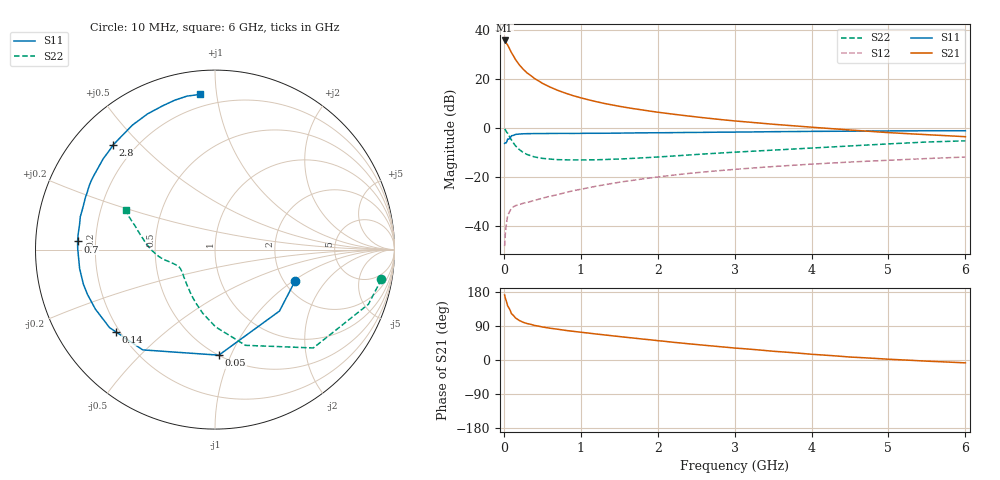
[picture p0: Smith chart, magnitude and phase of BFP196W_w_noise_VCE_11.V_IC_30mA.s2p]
! (c) 2017  Infineon Technologies AG, Munich
! Infineon Technologies  Discrete & RF Semiconductors
! BFP196W
! VCE =  11. V,  IC =  30 mA
! Common Emitter S-Parameters:  Jan 2017
# GHz  S  MA  R  50
!  f  S11  S21  S12  S22
! GHz  MAG  ANG  MAG  ANG  MAG  ANG  MAG  ANG
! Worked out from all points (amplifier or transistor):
!   77 points, 10 MHz to 6 GHz, reference 50 ohm
!   highest |S21| = 35.7 dB at 10 MHz (marker M1)
!   |S21| within 3 dB of that: start of sweep to 67.81 MHz
!   unconditionally stable (mu >= 1): 889.5 MHz to 3.224 GHz
!   at 130 MHz: K = 0.30, MSG = 30.7 dB, |S12| = -32.2 dB
!   at 2.2 GHz: K = 1.05, MAG = 11.1 dB, |S12| = -19.4 dB
!   at 6 GHz: K = 0.90, MSG = 4.2 dB, |S12| = -12.0 dB
!   lowest NFmin = 1.13 dB at 450 MHz
!   S11 on the Smith chart (normalised r, x): 10 MHz: 2.29, -1.03; 50 MHz: 0.50, -0.90; 140 MHz: 0.19, -0.35; 700 MHz: 0.13, +0.03; 2.8 GHz: 0.12, +0.42; 6 GHz: 0.13, +0.90
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0.01  0.4793 -21.3  60.95 171.7  0.0038 70.2  0.9419 -10.1
0.02  0.4962 -43.6  58.62 162.9  0.0069 75.4  0.9076 -19.6
0.05  0.5886 -87.9  49.02 142.5  0.0161 54.5  0.7748 -45.0
0.1  0.6888 -125.8  34.13 122.0  0.0228 42.3  0.5599 -72.3
0.14  0.7171 -140.2  26.75 113.9  0.025 38.0  0.4525 -85.4
0.15  0.7308 -143.5  25.02 111.2  0.0256 37.0  0.4304 -89.6
0.2  0.7443 -153.5  19.44 104.4  0.0268 36.9  0.3602 -101.1
0.25  0.7529 -160.5  15.84 99.6  0.0286 36.2  0.3141 -110.2
0.3  0.7582 -165.2  13.31 96.3  0.0297 37.3  0.2857 -117.3
0.4  0.7617 -172.0  10.13 91.1  0.0328 40.8  0.2534 -127.6
0.5  0.7614 -176.6  8.128 87.2  0.0363 44.4  0.2372 -134.8
0.6  0.7649 179.6  6.806 83.9  0.0399 47.2  0.2292 -139.9
0.7  0.767 176.6  5.83 81.2  0.0428 50.1  0.2231 -143.8
0.9  0.7667 170.9  4.535 75.7  0.0515 52.7  0.2205 -148.9
1.1  0.7725 166.3  3.733 71.0  0.0594 55.2  0.2211 -152.3
1.5  0.7784 158.0  2.75 61.9  0.077 56.6  0.2302 -157.6
2.1  0.7931 146.2  1.987 49.1  0.103 55.2  0.2585 -164.2
2.8  0.8132 134.3  1.483 35.3  0.133 51.6  0.3039 -171.2
3.1  0.8184 129.6  1.339 30.1  0.1451 49.3  0.3232 -174.5
4.1  0.8452 115.1  1.001 13.8  0.1842 42.2  0.3926 173.7
5.1  0.8632 104.1  0.781 1.1  0.2203 34.8  0.4768 162.3
6  0.8688 95.6  0.657 -7.6  0.2524 28.0  0.5409 156.0
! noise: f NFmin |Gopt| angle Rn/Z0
0.45  1.13  0.45  178  0.05
0.9  1.29  0.52  -176  0.06
1.9  2.14  0.68  -151  0.13
2.4  2.54  0.73  -146  0.22
